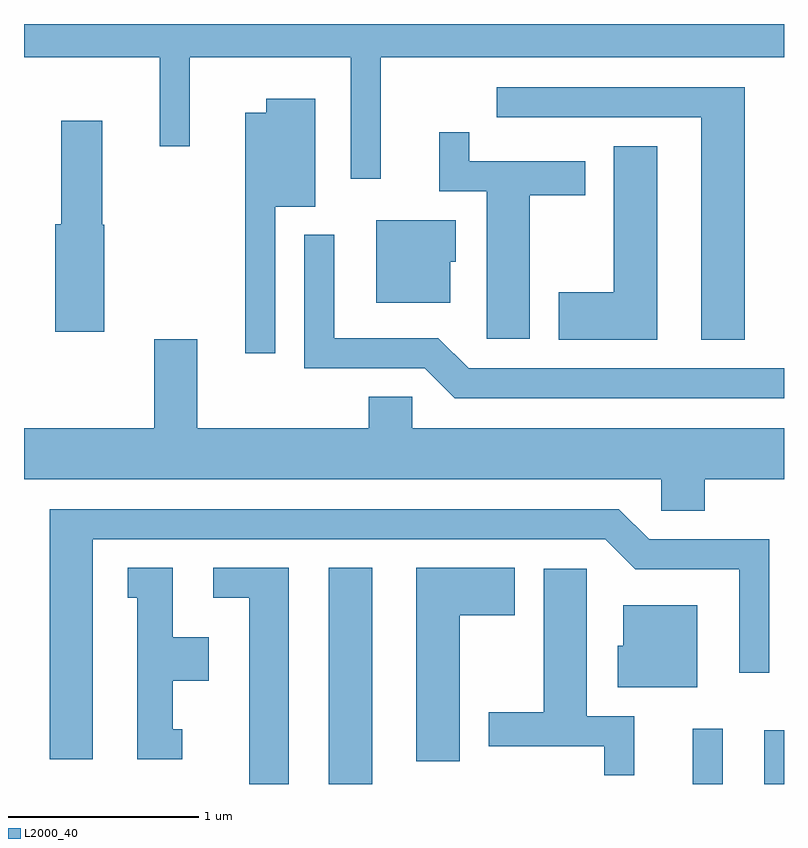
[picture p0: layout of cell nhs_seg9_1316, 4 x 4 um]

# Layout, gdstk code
import gdstk
lib = gdstk.Library(unit=1e-6, precision=1e-09)
def R(c, l, rs):  # rectangles x0, y0, x1, y1
    for r in rs: c.add(gdstk.rectangle(r[:2], r[2:], *l))
def P(c, l, *ps):  # polygons
    for p in ps: c.add(gdstk.Polygon(p, *l))
L2000_40 = (2000, 40)

nhs_seg9_1316 = lib.new_cell('nhs_seg9_1316')
R(nhs_seg9_1316, L2000_40, [(225.216,1992.432,225.444,1993.569), (227.131,1992.432,227.289,1992.723), (227.506,1992.432,227.611,1992.714)])
P(nhs_seg9_1316, L2000_40, [(225.489,1996.256),(227.611,1996.256),(227.611,1996.432),(223.611,1996.432),(223.611,1996.256),(224.326,1996.256),(224.326,1995.788),(224.484,1995.788),(224.484,1996.256),(225.331,1996.256),(225.331,1995.618),(225.489,1995.618)],
  [(227.404,1996.099),(226.098,1996.099),(226.098,1995.941),(227.176,1995.941),(227.176,1994.771),(227.404,1994.771)],
  [(224.934,1995.471),(225.144,1995.471),(225.144,1996.039),(224.886,1996.039),(224.886,1995.964),(224.776,1995.964),(224.776,1994.698),(224.934,1994.698)],
  [(224.034,1995.375),(224.024,1995.375),(224.024,1995.924),(223.806,1995.924),(223.806,1995.379),(223.776,1995.379),(223.776,1994.811),(224.034,1994.811)],
  [(226.274,1995.531),(226.564,1995.531),(226.564,1995.709),(225.954,1995.709),(225.954,1995.863),(225.796,1995.863),(225.796,1995.551),(226.046,1995.551),(226.046,1994.776),(226.274,1994.776)],
  [(226.944,1995.789),(226.716,1995.789),(226.716,1995.019),(226.426,1995.019),(226.426,1994.771),(226.944,1994.771)],
  [(225.854,1995.181),(225.884,1995.181),(225.884,1995.399),(225.466,1995.399),(225.466,1994.966),(225.854,1994.966)],
  [(227.611,1994.619),(225.952,1994.619),(225.792,1994.779),(225.244,1994.779),(225.244,1995.323),(225.086,1995.323),(225.086,1994.621),(225.719,1994.621),(225.879,1994.461),(227.611,1994.461)],
  [(227.194,1994.036),(227.611,1994.036),(227.611,1994.304),(225.654,1994.304),(225.654,1994.469),(225.426,1994.469),(225.426,1994.304),(224.524,1994.304),(224.524,1994.774),(224.296,1994.774),(224.296,1994.304),(223.611,1994.304),(223.611,1994.036),(226.966,1994.036),(226.966,1993.871),(227.194,1993.871)],
  [(223.974,1993.721),(226.669,1993.721),(226.829,1993.561),(227.376,1993.561),(227.376,1993.018),(227.534,1993.018),(227.534,1993.719),(226.902,1993.719),(226.742,1993.879),(223.746,1993.879),(223.746,1992.561),(223.974,1992.561)],
  [(225.904,1993.321),(226.194,1993.321),(226.194,1993.569),(225.676,1993.569),(225.676,1992.551),(225.904,1992.551)],
  [(224.443,1992.719),(224.394,1992.719),(224.394,1992.976),(224.584,1992.976),(224.584,1993.204),(224.394,1993.204),(224.394,1993.569),(224.158,1993.569),(224.158,1993.411),(224.206,1993.411),(224.206,1992.561),(224.443,1992.561)],
  [(225.004,1993.569),(224.608,1993.569),(224.608,1993.411),(224.796,1993.411),(224.796,1992.432),(225.004,1992.432)],
  [(226.824,1992.789),(226.574,1992.789),(226.574,1993.564),(226.346,1993.564),(226.346,1992.809),(226.056,1992.809),(226.056,1992.631),(226.666,1992.631),(226.666,1992.478),(226.824,1992.478)],
  [(227.154,1993.374),(226.766,1993.374),(226.766,1993.159),(226.736,1993.159),(226.736,1992.941),(227.154,1992.941)])

lib.write_gds('nhs_seg9_1316.gds')
